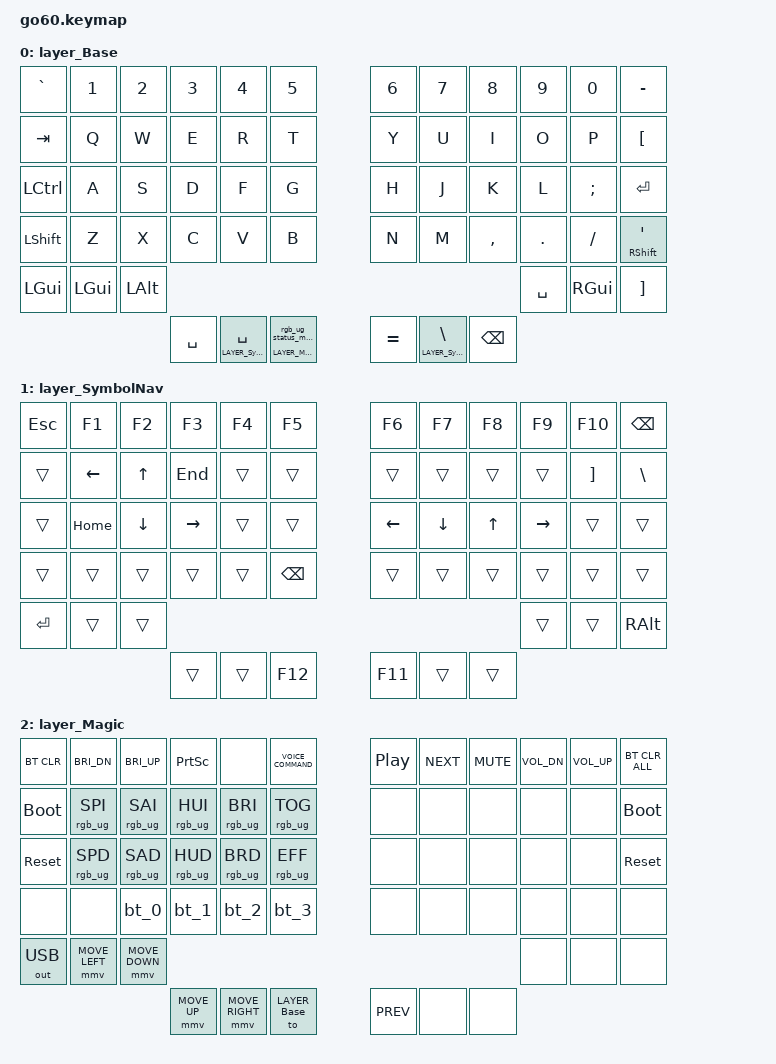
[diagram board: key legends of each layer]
/*
 * Copyright (c) 2020 The ZMK Contributors
 * Copyright (c) 2025 Innaworks Development Limited, trading as MoErgo
 *
 * SPDX-License-Identifier: MIT
 */


/* THIS FILE WAS GENERATED BY GO60 LAYOUT EDITOR
 *
 * This file was generated automatically. You may or may not want to
 * edit it directly.
 */

#include <behaviors.dtsi>

/* Include all behavior includes needed */

#include <dt-bindings/zmk/outputs.h>
#include <dt-bindings/zmk/keys.h>
#include <dt-bindings/zmk/bt.h>
#include <dt-bindings/zmk/rgb.h>

#include <input/processors.dtsi>
#include <dt-bindings/zmk/input_transform.h>
#include <zephyr/dt-bindings/input/input-event-codes.h>

/* On demand includes */
#include <dt-bindings/zmk/input_transform.h>
#include <dt-bindings/zmk/pointing.h>
#include <input/processors.dtsi>

/* Helper Macros, based on https://github.com/urob/zmk-helpers/ */

#pragma once

#define ZMK_HELPER_STRINGIFY(x) #x

// Preprocessor mechanism to overload macros, cf. https://stackoverflow.com/a/27051616/6114651
#define VARGS_(_10, _9, _8, _7, _6, _5, _4, _3, _2, _1, N, ...) N
#define VARGS(...) VARGS_(__VA_ARGS__, 10, 9, 8, 7, 6, 5, 4, 3, 2, 1, 0)
#define CONCAT_(a, b) a##b
#define CONCAT(a, b) CONCAT_(a, b)

#define ZMK_BEHAVIOR_CORE_tap_dance  \
    compatible = "zmk,behavior-tap-dance"; \
    #binding-cells = <0>

#define ZMK_BEHAVIOR(name, type, ...) \
    name: name { \
        ZMK_BEHAVIOR_CORE_ ## type; \
        __VA_ARGS__ \
    };

#define ZMK_TAP_DANCE(name, ...) \
    ZMK_BEHAVIOR(name, tap_dance, __VA_ARGS__)

#define ZMK_TD_LAYER(name, layer) \
    ZMK_TAP_DANCE(name, \
        tapping-term-ms = <200>; \
        bindings = <&mo layer>, <&to layer>; \
)





/* Key positions */

#define POS_LH_C6R1 0
#define POS_LH_C5R1 1
#define POS_LH_C4R1 2
#define POS_LH_C3R1 3
#define POS_LH_C2R1 4
#define POS_LH_C1R1 5
#define POS_RH_C1R1 6
#define POS_RH_C2R1 7
#define POS_RH_C3R1 8
#define POS_RH_C4R1 9
#define POS_RH_C5R1 10
#define POS_RH_C6R1 11
#define POS_LH_C6R2 12
#define POS_LH_C5R2 13
#define POS_LH_C4R2 14
#define POS_LH_C3R2 15
#define POS_LH_C2R2 16
#define POS_LH_C1R2 17
#define POS_RH_C1R2 18
#define POS_RH_C2R2 19
#define POS_RH_C3R2 20
#define POS_RH_C4R2 21
#define POS_RH_C5R2 22
#define POS_RH_C6R2 23
#define POS_LH_C6R3 24
#define POS_LH_C5R3 25
#define POS_LH_C4R3 26
#define POS_LH_C3R3 27
#define POS_LH_C2R3 28
#define POS_LH_C1R3 29
#define POS_RH_C1R3 30
#define POS_RH_C2R3 31
#define POS_RH_C3R3 32
#define POS_RH_C4R3 33
#define POS_RH_C5R3 34
#define POS_RH_C6R3 35
#define POS_LH_C6R4 36
#define POS_LH_C5R4 37
#define POS_LH_C4R4 38
#define POS_LH_C3R4 39
#define POS_LH_C2R4 40
#define POS_LH_C1R4 41
#define POS_RH_C1R4 42
#define POS_RH_C2R4 43
#define POS_RH_C3R4 44
#define POS_RH_C4R4 45
#define POS_RH_C5R4 46
#define POS_RH_C6R4 47
#define POS_LH_C4R5 48
#define POS_LH_C3R5 49
#define POS_LH_C2R5 50
#define POS_RH_C2R5 51
#define POS_RH_C3R5 52
#define POS_RH_C4R5 53
#define POS_LH_T1 54
#define POS_LH_T2 55
#define POS_LH_T3 56
#define POS_RH_T3 57
#define POS_RH_T2 58
#define POS_RH_T1 59


#define LEFT_HAND_KEYS \
  POS_LH_C1R1 POS_LH_C2R1 POS_LH_C3R1 POS_LH_C4R1 POS_LH_C5R1 POS_LH_C6R1 \
  POS_LH_C1R2 POS_LH_C2R2 POS_LH_C3R2 POS_LH_C4R2 POS_LH_C5R2 POS_LH_C6R2 \
  POS_LH_C1R3 POS_LH_C2R3 POS_LH_C3R3 POS_LH_C4R3 POS_LH_C5R3 POS_LH_C6R3 \
  POS_LH_C1R4 POS_LH_C2R4 POS_LH_C3R4 POS_LH_C4R4 POS_LH_C5R4 POS_LH_C6R4 \
              POS_LH_C2R5 POS_LH_C3R5 POS_LH_C4R5

#define RIGHT_HAND_KEYS \
  POS_RH_C1R1 POS_RH_C2R1 POS_RH_C3R1 POS_RH_C4R1 POS_RH_C5R1 POS_RH_C6R1 \
  POS_RH_C1R2 POS_RH_C2R2 POS_RH_C3R2 POS_RH_C4R2 POS_RH_C5R2 POS_RH_C6R2 \
  POS_RH_C1R3 POS_RH_C2R3 POS_RH_C3R3 POS_RH_C4R3 POS_RH_C5R3 POS_RH_C6R3 \
  POS_RH_C1R4 POS_RH_C2R4 POS_RH_C3R4 POS_RH_C4R4 POS_RH_C5R4 POS_RH_C6R4 \
              POS_RH_C2R5 POS_RH_C3R5 POS_RH_C4R5

#define THUMB_KEYS \
  POS_LH_T1 POS_LH_T2 POS_LH_T3 \
  POS_RH_T1 POS_RH_T2 POS_RH_T3

/* Environment and metadata defines */
#define KB_TYPE_GLOVE_80 1
#define KB_TYPE_GO_60    2

#define KB_TYPE          KB_TYPE_GO_60
#define EDITOR_HOST_OS   'M'

/* Automatically generated layer name defines */
#define LAYER_Base 0
#define LAYER_SymbolNav 1
#define LAYER_Magic 2

/* To deal with the situation where there is no Lower layer, to keep &lower happy */
#ifndef LAYER_Lower
#define LAYER_Lower 0
#endif

/* Generated input processors */
/ {
    input_processors {
        zip_click_to_right_click_mapper: zip_click_to_right_click_mapper {
            compatible = "zmk,input-processor-code-mapper";
            #input-processor-cells = <0>;
            type = <INPUT_EV_KEY>;
            map = <INPUT_BTN_0 INPUT_BTN_1>;
        };
    };
};

/* Custom Device-tree */
&mt {
    tapping-term-ms = <350>;
};
&lt {
    tapping-term-ms = <350>;
};

/* Input Listeners */
&cirque_rh_listener {
    input-processors = <&zip_xy_scaler 5 7>, <&zip_xy_to_scroll_mapper>, <&zip_click_to_right_click_mapper>;
};

&cirque_lh_listener {
    input-processors = <&zip_xy_scaler 5 2>;
};

/* System behavior and macros */
/ {
    behaviors {
        ZMK_TD_LAYER(lower, LAYER_Lower)
    };
};

/ {
    macros {
        rgb_ug_status_macro: rgb_ug_status_macro {
            label = "RGB_UG_STATUS";
            compatible = "zmk,behavior-macro";
            #binding-cells = <0>;
            bindings
                = <&rgb_ug RGB_STATUS>;
        };
    };
};

/ {
#ifdef BT_DISC_CMD
    behaviors {
        bt_0: bt_0 {
            compatible = "zmk,behavior-tap-dance";
            label = "BT_0";
            #binding-cells = <0>;
            tapping-term-ms = <200>;
            bindings = <&bt_select_0>, <&bt BT_DISC 0>;
        };
        bt_1: bt_1 {
            compatible = "zmk,behavior-tap-dance";
            label = "BT_1";
            #binding-cells = <0>;
            tapping-term-ms = <200>;
            bindings = <&bt_select_1>, <&bt BT_DISC 1>;
        };
        bt_2: bt_2 {
            compatible = "zmk,behavior-tap-dance";
            label = "BT_2";
            #binding-cells = <0>;
            tapping-term-ms = <200>;
            bindings = <&bt_select_2>, <&bt BT_DISC 2>;
        };
        bt_3: bt_3 {
            compatible = "zmk,behavior-tap-dance";
            label = "BT_3";
            #binding-cells = <0>;
            tapping-term-ms = <200>;
            bindings = <&bt_select_3>, <&bt BT_DISC 3>;
        };
    };
    macros {
        bt_select_0: bt_select_0 {
            label = "BT_SELECT_0";
            compatible = "zmk,behavior-macro";
            #binding-cells = <0>;
            bindings
                = <&out OUT_BLE>,
                  <&bt BT_SEL 0>;
        };
        bt_select_1: bt_select_1 {
            label = "BT_SELECT_1";
            compatible = "zmk,behavior-macro";
            #binding-cells = <0>;
            bindings
                = <&out OUT_BLE>,
                  <&bt BT_SEL 1>;
        };
        bt_select_2: bt_select_2 {
            label = "BT_SELECT_2";
            compatible = "zmk,behavior-macro";
            #binding-cells = <0>;
            bindings
                = <&out OUT_BLE>,
                  <&bt BT_SEL 2>;
        };
        bt_select_3: bt_select_3 {
            label = "BT_SELECT_3";
            compatible = "zmk,behavior-macro";
            #binding-cells = <0>;
            bindings
                = <&out OUT_BLE>,
                  <&bt BT_SEL 3>;
        };
    };
#else
    macros {
        bt_0: bt_0 {
            label = "BT_0";
            compatible = "zmk,behavior-macro";
            #binding-cells = <0>;
            bindings
                = <&out OUT_BLE>,
                  <&bt BT_SEL 0>;
        };
        bt_1: bt_1 {
            label = "BT_1";
            compatible = "zmk,behavior-macro";
            #binding-cells = <0>;
            bindings
                = <&out OUT_BLE>,
                  <&bt BT_SEL 1>;
        };
        bt_2: bt_2 {
            label = "BT_2";
            compatible = "zmk,behavior-macro";
            #binding-cells = <0>;
            bindings
                = <&out OUT_BLE>,
                  <&bt BT_SEL 2>;
        };
        bt_3: bt_3 {
            label = "BT_3";
            compatible = "zmk,behavior-macro";
            #binding-cells = <0>;
            bindings
                = <&out OUT_BLE>,
                  <&bt BT_SEL 3>;
        };
    };
#endif
};

/ {
    behaviors {
        magic: magic {
            compatible = "zmk,behavior-hold-tap";
            label = "MAGIC_HOLD_TAP";
            #binding-cells = <2>;
            flavor = "tap-preferred";
            tapping-term-ms = <200>;
            bindings = <&mo>, <&rgb_ug_status_macro>;
        };
    };
};


/* Custom Defined Behaviors */
/ {

};

/* Automatically generated macro definitions */
/ {
    macros {

    };
};

/* Automatically generated behavior definitions */
/ {
    behaviors {


    };
};

/* Automatically generated combos definitions */


/* Automatically generated keymap */
/ {
    keymap {
        compatible = "zmk,keymap";


        layer_Base {
            bindings = <
 &kp GRAVE  &kp N1    &kp N2    &kp N3    &kp N4  &kp N5                                                                                                             &kp N6     &kp N7     &kp N8    &kp N9    &kp N0      &kp MINUS
   &kp TAB   &kp Q     &kp W     &kp E     &kp R   &kp T                                                                                                              &kp Y      &kp U      &kp I     &kp O     &kp P       &kp LBKT
 &kp LCTRL   &kp A     &kp S     &kp D     &kp F   &kp G                                                                                                              &kp H      &kp J      &kp K     &kp L  &kp SEMI        &kp RET
 &kp LSHFT   &kp Z     &kp X     &kp C     &kp V   &kp B                                                                                                              &kp N      &kp M  &kp COMMA   &kp DOT  &kp FSLH  &mt RSHFT SQT
                    &kp LGUI  &kp LGUI  &kp LALT                                                                                                                             &kp SPACE   &kp RGUI  &kp RBKT
                                                          &kp SPACE  &lt LAYER_SymbolNav SPACE  &magic LAYER_Magic 0  &kp EQUAL  &lt LAYER_SymbolNav BSLH  &kp BSPC
            >;
        };

        layer_SymbolNav {
            bindings = <
 &kp ESC    &kp F1    &kp F2     &kp F3  &kp F4    &kp F5                                                      &kp F6    &kp F7  &kp F8     &kp F9   &kp F10  &kp BSPC
  &trans  &kp LEFT    &kp UP    &kp END  &trans    &trans                                                      &trans    &trans  &trans     &trans  &kp RBKT  &kp BSLH
  &trans  &kp HOME  &kp DOWN  &kp RIGHT  &trans    &trans                                                    &kp LEFT  &kp DOWN  &kp UP  &kp RIGHT    &trans    &trans
  &trans    &trans    &trans     &trans  &trans  &kp BSPC                                                      &trans    &trans  &trans     &trans    &trans    &trans
                     &kp RET     &trans  &trans                                                                          &trans  &trans   &kp RALT
                                                           &trans  &trans  &kp F12  &kp F11  &trans  &trans
            >;
        };

        layer_Magic {
            bindings = <
  &bt BT_CLR     &kp C_BRI_DN     &kp C_BRI_UP        &kp PSCRN            &none  &kp C_VOICE_COMMAND                                                                             &kp C_PP  &kp C_NEXT  &kp C_MUTE  &kp C_VOL_DN  &kp C_VOL_UP  &bt BT_CLR_ALL
 &bootloader  &rgb_ug RGB_SPI  &rgb_ug RGB_SAI  &rgb_ug RGB_HUI  &rgb_ug RGB_BRI      &rgb_ug RGB_TOG                                                                                &none       &none       &none         &none         &none     &bootloader
  &sys_reset  &rgb_ug RGB_SPD  &rgb_ug RGB_SAD  &rgb_ug RGB_HUD  &rgb_ug RGB_BRD      &rgb_ug RGB_EFF                                                                                &none       &none       &none         &none         &none      &sys_reset
       &none            &none            &bt_0            &bt_1            &bt_2                &bt_3                                                                                &none       &none       &none         &none         &none           &none
                                  &out OUT_USB   &mmv MOVE_LEFT   &mmv MOVE_DOWN                                                                                                                 &none       &none         &none
                                                                                                       &mmv MOVE_UP  &mmv MOVE_RIGHT  &to LAYER_Base  &kp C_PREV   &none   &none
            >;
        };

    };
};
